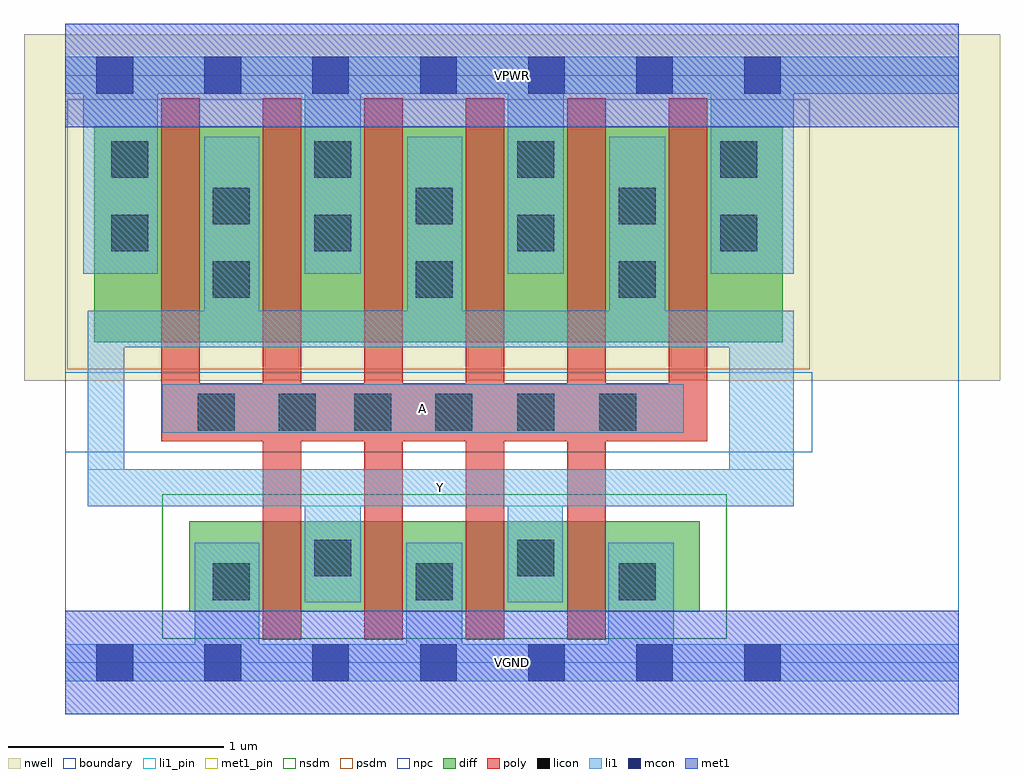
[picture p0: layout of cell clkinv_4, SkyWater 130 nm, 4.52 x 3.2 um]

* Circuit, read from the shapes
.subckt clkinv_4 A VGND VPWR Y
XM1 Y A VGND VSUBS sky130_fd_pr__nfet_01v8 w=0.42 l=0.18 m=4
XM2 Y A VPWR n1 sky130_fd_pr__pfet_01v8 w=1 l=0.18 m=6
.ends

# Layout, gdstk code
import gdstk
lib = gdstk.Library(unit=1e-6, precision=1e-09)
def R(c, l, rs):  # rectangles x0, y0, x1, y1
    for r in rs: c.add(gdstk.rectangle(r[:2], r[2:], *l))
def A(c, l, x, y, w, h, nx, ny, dx, dy):  # array of equal rectangles
    R(c, l, [(x+i*dx, y+j*dy, x+i*dx+w, y+j*dy+h) for i in range(nx) for j in range(ny)])
nwell = (64, 20)
diff = (65, 20)
poly = (66, 20)
licon = (66, 44)
li1_pin = (67, 16)
li1 = (67, 20)
mcon = (67, 44)
met1_pin = (68, 16)
met1 = (68, 20)
nsdm = (93, 44)
psdm = (94, 20)
npc = (95, 20)
boundary = (235, 4)

clkinv_4 = lib.new_cell('clkinv_4')
R(clkinv_4, nwell, [(-0.19,1.305,4.33,2.91), (0,1.305,4.14,2.91)])
R(clkinv_4, diff, [(0.575,0.235,2.94,0.655), (0.135,1.485,3.325,2.485)])
A(clkinv_4, poly, 0.915, 0.105, 0.18, 2.51, 4, 1, 0.47, 0)
R(clkinv_4, poly, [(0.445,1.025,2.975,1.295), (0.445,1.025,0.625,2.615), (2.795,1.025,2.975,2.615)])
A(clkinv_4, licon, 0.685, 0.29, 0.17, 0.17, 3, 2, 0.94, 1.4)
A(clkinv_4, licon, 1.715, 1.075, 0.17, 0.17, 3, 1, 0.38, 0)
A(clkinv_4, licon, 0.215, 1.905, 0.17, 0.17, 4, 2, 0.94, 0.34)
A(clkinv_4, licon, 0.685, 2.03, 0.17, 0.17, 3, 1, 0.94, 0)
R(clkinv_4, licon, [(1.155,0.4,1.325,0.57), (2.095,0.4,2.265,0.57), (0.615,1.075,0.785,1.245), (0.99,1.075,1.16,1.245), (1.34,1.075,1.51,1.245)])
R(clkinv_4, li1_pin, [(0.105,0.725,3.375,0.895), (0.45,1.065,2.865,1.29)])
R(clkinv_4, li1, [(0,-0.085,4.14,0.085), (0.6,-0.085,0.9,0.555), (1.58,-0.085,1.84,0.555), (2.515,-0.085,2.82,0.555), (1.11,0.28,1.37,0.895), (2.05,0.28,2.305,0.895), (0.105,0.725,3.375,0.895), (0.105,0.725,0.275,1.63), (3.075,0.725,3.375,1.63), (0.45,1.065,2.865,1.29), (0.105,1.46,3.375,1.63), (0.645,1.46,0.9,2.435), (1.585,1.46,1.84,2.435), (2.52,1.46,2.78,2.435), (0.085,1.8,0.43,2.805), (1.11,1.8,1.37,2.805), (2.05,1.8,2.31,2.805), (2.99,1.8,3.375,2.805), (0,2.635,4.14,2.805)])
A(clkinv_4, mcon, 0.145, -0.085, 0.17, 0.17, 7, 2, 0.5, 2.72)
R(clkinv_4, met1_pin, [(0,-0.24,4.14,0.24), (0,2.48,4.14,2.96)])
R(clkinv_4, met1, [(0,-0.24,4.14,0.24), (0,2.48,4.14,2.96)])
R(clkinv_4, nsdm, [(0.45,0.11,3.065,0.78)])
R(clkinv_4, psdm, [(0.01,1.36,3.45,2.61)])
R(clkinv_4, npc, [(0,0.975,3.46,1.345)])
R(clkinv_4, boundary, [(0,0,4.14,2.72)])
clkinv_4.add(gdstk.Label('A', (1.657,1.177), layer=67, texttype=5))
clkinv_4.add(gdstk.Label('Y', (1.74,0.81), layer=67, texttype=5))
clkinv_4.add(gdstk.Label('VPWR', (2.07,2.72), layer=68, texttype=5))
clkinv_4.add(gdstk.Label('VGND', (2.07,0), layer=68, texttype=5))
clkinv_4.add(gdstk.Label('A', (1.657,1.177), layer=67, texttype=16))
clkinv_4.add(gdstk.Label('Y', (1.74,0.81), layer=67, texttype=16))
clkinv_4.add(gdstk.Label('VPWR', (2.07,2.72), layer=68, texttype=16))
clkinv_4.add(gdstk.Label('VGND', (2.07,0), layer=68, texttype=16))

lib.write_gds('clkinv_4.gds')
